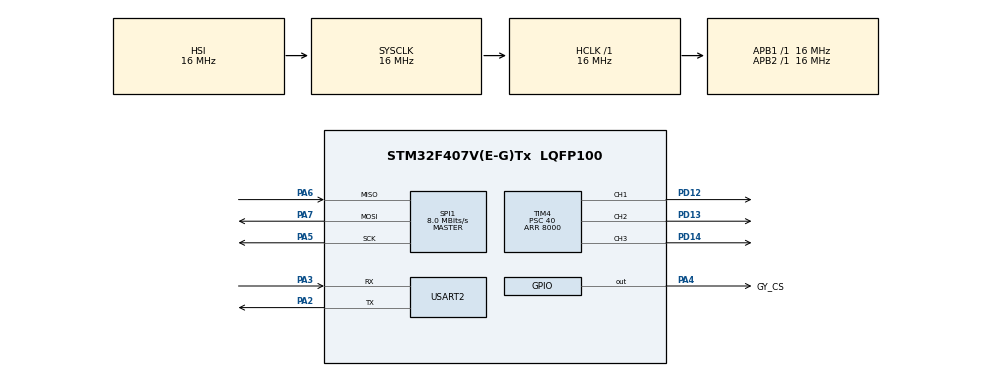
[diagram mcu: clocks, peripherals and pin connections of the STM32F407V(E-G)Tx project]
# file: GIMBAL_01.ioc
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FREERTOS.Queues01=ColaX,16,uint32_t,0,Dynamic,NULL,NULL;ColaY,16,uint32_t,0,Dynamic,NULL,NULL;ColaZ,16,uint32_t,0,Dynamic,NULL,NULL
FREERTOS.Tasks01=Captura,0,128,StartCaptura,Default,NULL,Dynamic,NULL,NULL;Hombro,-3,128,StartHombro,Default,NULL,Dynamic,NULL,NULL;Codo,-3,128,StartCodo,Default,NULL,Dynamic,NULL,NULL;Muneca,-3,128,StartMuneca,Default,NULL,Dynamic,NULL,NULL
Mcu.Family=STM32F4
Mcu.Name=STM32F407V(E-G)Tx
Mcu.Package=LQFP100
NVIC.PriorityGroup=NVIC_PRIORITYGROUP_4
PA2.Mode=Asynchronous
PA2.Signal=USART2_TX
PA3.Mode=Asynchronous
PA3.Signal=USART2_RX
PA4.GPIO_Label=GY_CS
PA4.Signal=GPIO_Output
PA5.Mode=Full_Duplex_Master
PA5.Signal=SPI1_SCK
PA6.Mode=Full_Duplex_Master
PA6.Signal=SPI1_MISO
PA7.Mode=Full_Duplex_Master
PA7.Signal=SPI1_MOSI
PD12.Signal=S_TIM4_CH1
PD13.Signal=S_TIM4_CH2
PD14.Signal=S_TIM4_CH3
ProjectManager.HeapSize=0x200
ProjectManager.StackSize=0x400
ProjectManager.TargetToolchain=MDK-ARM V5.27
RCC.AHBFreq_Value=16000000
RCC.APB1Freq_Value=16000000
RCC.APB2Freq_Value=16000000
RCC.CortexFreq_Value=16000000
RCC.HSE_VALUE=25000000
RCC.HSI_VALUE=16000000
RCC.LSE_VALUE=32768
RCC.SYSCLKFreq_VALUE=16000000
RCC.VCOOutputFreq_Value=192000000
SH.S_TIM4_CH1.0=TIM4_CH1,PWM Generation1 CH1
SH.S_TIM4_CH2.0=TIM4_CH2,PWM Generation2 CH2
SH.S_TIM4_CH3.0=TIM4_CH3,PWM Generation3 CH3
SPI1.CalculateBaudRate=8.0 MBits/s
SPI1.Direction=SPI_DIRECTION_2LINES
SPI1.Mode=SPI_MODE_MASTER
SPI1.VirtualType=VM_MASTER
TIM4.Channel-PWM\ Generation1\ CH1=TIM_CHANNEL_1
TIM4.Channel-PWM\ Generation2\ CH2=TIM_CHANNEL_2
TIM4.Channel-PWM\ Generation3\ CH3=TIM_CHANNEL_3
TIM4.Period=8000
TIM4.Prescaler=40
TIM4.Pulse-PWM\ Generation1\ CH1=600
TIM4.Pulse-PWM\ Generation2\ CH2=600
TIM4.Pulse-PWM\ Generation3\ CH3=600
USART2.VirtualMode=VM_ASYNC
VP_FREERTOS_VS_CMSIS_V1.Mode=CMSIS_V1
VP_TIM4_VS_ClockSourceINT.Mode=Internal
board=custom

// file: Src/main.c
/* USER CODE BEGIN Header */
/**
  ******************************************************************************
  * @file           : main.c
  * @brief          : Main program body
  ******************************************************************************
  * @attention
  *
  * <h2><center>&copy; Copyright (c) 2020 STMicroelectronics.
  * All rights reserved.</center></h2>
  *
  * This software component is licensed by ST under Ultimate Liberty license
  * SLA0044, the "License"; You may not use this file except in compliance with
  * the License. You may obtain a copy of the License at:
  *                             www.st.com/SLA0044
  *
  ******************************************************************************
  */
/* USER CODE END Header */

#include "main.h"
#include "cmsis_os.h"

/* USER CODE BEGIN Includes */
#include "MPU9250.h"
#include <stdio.h>
/* USER CODE END Includes */

SPI_HandleTypeDef hspi1;

TIM_HandleTypeDef htim4;

UART_HandleTypeDef huart2;

osThreadId CapturaHandle;
osThreadId HombroHandle;
osThreadId CodoHandle;
osThreadId MunecaHandle;
osMessageQId ColaXHandle;
osMessageQId ColaYHandle;
osMessageQId ColaZHandle;

void SystemClock_Config(void);
static void MX_GPIO_Init(void);
static void MX_SPI1_Init(void);
static void MX_USART2_UART_Init(void);
static void MX_TIM4_Init(void);
void StartCaptura(void const * argument);
void StartHombro(void const * argument);
void StartCodo(void const * argument);
void StartMuneca(void const * argument);

/* USER CODE BEGIN 0 */

/******************************************************************************** VARS ***/
// Declaradas globales por captura de firstYAW
int16_t AccData[3], GyroData[3], MagData[3], firstYAW;
// Retardo de las tareas
int Gresponse = 10;
// Prescaler = 40
// Se queda ARR = 8000
// Centro de los Motores, Rango de 320-880 cuentas (0.8-2.2ms)
int centro=600;
// Límite de posición estable;
int limitStable = 400;

// Factor de resolución para el ángulo
//int incResolution=400;

/******************************************************************************** PRINTF ***/
//Retargets the C library printf function to the USART.
 #define PUTCHAR_PROTOTYPE int fputc(int ch, FILE *f)
 PUTCHAR_PROTOTYPE
{
  /* write a character to the uart1 and Loop until the end of transmission */
  HAL_UART_Transmit(&huart2, (uint8_t *)&ch, 1, 0xFFFF);
  return ch;
}

/******************************************************************************** SETPWM ***/
void setPWM(TIM_HandleTypeDef timer, uint32_t channel, uint16_t period, uint16_t pulse);

/* USER CODE END 0 */

int main(void)
{

  /* MCU Configuration--------------------------------------------------------*/

  /* Reset of all peripherals, Initializes the Flash interface and the Systick. */
  HAL_Init();

  /* Configure the system clock */
  SystemClock_Config();

  /* Initialize all configured peripherals */
  MX_GPIO_Init();
  MX_SPI1_Init();
  MX_USART2_UART_Init();
  MX_TIM4_Init();
  /* USER CODE BEGIN 2 */

	printf("==========================================================  \n\r");
  printf("     Master en Electrónica y Telecomunicacion Aplicadas     \n\r");
  printf("          Sistemas Empotrados de Tiempo Real                \n\r");
  printf("                                                            \n\r");
  printf("                 PROYECTO GIMBAL                            \n\r");
  printf("                                              Roy Tarapuez  \n\r");
  printf("==========================================================\n\n\r");

	MPU9250_Init();

	// Capturamos el primer ángulo de giro de la base.
	MPU9250_GetData(AccData, GyroData, MagData);
	firstYAW = GyroData[0];

	/********************************************************************* INICIA ARTICULACIONES */

	// Inicializamos los motores a su centro
		setPWM(htim4, TIM_CHANNEL_1, 8000, centro);
  // El motor del codo tiene un offset
	setPWM(htim4, TIM_CHANNEL_2, 8000, centro);
  	setPWM(htim4, TIM_CHANNEL_3, 8000, centro);

  /* USER CODE END 2 */

  /* Create the queue(s) */
  /* definition and creation of ColaX */
  osMessageQDef(ColaX, 16, uint32_t);
  ColaXHandle = osMessageCreate(osMessageQ(ColaX), NULL);

  /* definition and creation of ColaY */
  osMessageQDef(ColaY, 16, uint32_t);
  ColaYHandle = osMessageCreate(osMessageQ(ColaY), NULL);

  /* definition and creation of ColaZ */
  osMessageQDef(ColaZ, 16, uint32_t);
  ColaZHandle = osMessageCreate(osMessageQ(ColaZ), NULL);

  /* Create the thread(s) */
  /* definition and creation of Captura */
  osThreadDef(Captura, StartCaptura, osPriorityNormal, 0, 128);
  CapturaHandle = osThreadCreate(osThread(Captura), NULL);

  /* definition and creation of Hombro */
  osThreadDef(Hombro, StartHombro, osPriorityIdle, 0, 128);
  HombroHandle = osThreadCreate(osThread(Hombro), NULL);

  /* definition and creation of Codo */
  osThreadDef(Codo, StartCodo, osPriorityIdle, 0, 128);
  CodoHandle = osThreadCreate(osThread(Codo), NULL);

  /* definition and creation of Muneca */
  osThreadDef(Muneca, StartMuneca, osPriorityIdle, 0, 128);
  MunecaHandle = osThreadCreate(osThread(Muneca), NULL);

  /* Start scheduler */
  osKernelStart();

  /* We should never get here as control is now taken by the scheduler */
  /* Infinite loop */
  while (1)
  {

  }
}

void SystemClock_Config(void)
{
  RCC_OscInitTypeDef RCC_OscInitStruct = {0};
  RCC_ClkInitTypeDef RCC_ClkInitStruct = {0};

  /** Configure the main internal regulator output voltage
  */
  __HAL_RCC_PWR_CLK_ENABLE();
  __HAL_PWR_VOLTAGESCALING_CONFIG(PWR_REGULATOR_VOLTAGE_SCALE1);
  /** Initializes the CPU, AHB and APB busses clocks
  */
  RCC_OscInitStruct.OscillatorType = RCC_OSCILLATORTYPE_HSI;
  RCC_OscInitStruct.HSIState = RCC_HSI_ON;
  RCC_OscInitStruct.HSICalibrationValue = RCC_HSICALIBRATION_DEFAULT;
  RCC_OscInitStruct.PLL.PLLState = RCC_PLL_NONE;
  if (HAL_RCC_OscConfig(&RCC_OscInitStruct) != HAL_OK)
  {
    Error_Handler();
  }
  /** Initializes the CPU, AHB and APB busses clocks
  */
  RCC_ClkInitStruct.ClockType = RCC_CLOCKTYPE_HCLK|RCC_CLOCKTYPE_SYSCLK
                              |RCC_CLOCKTYPE_PCLK1|RCC_CLOCKTYPE_PCLK2;
  RCC_ClkInitStruct.SYSCLKSource = RCC_SYSCLKSOURCE_HSI;
  RCC_ClkInitStruct.AHBCLKDivider = RCC_SYSCLK_DIV1;
  RCC_ClkInitStruct.APB1CLKDivider = RCC_HCLK_DIV1;
  RCC_ClkInitStruct.APB2CLKDivider = RCC_HCLK_DIV1;

  if (HAL_RCC_ClockConfig(&RCC_ClkInitStruct, FLASH_LATENCY_0) != HAL_OK)
  {
    Error_Handler();
  }
}

static void MX_SPI1_Init(void)
{

  /* SPI1 parameter configuration*/
  hspi1.Instance = SPI1;
  hspi1.Init.Mode = SPI_MODE_MASTER;
  hspi1.Init.Direction = SPI_DIRECTION_2LINES;
  hspi1.Init.DataSize = SPI_DATASIZE_8BIT;
  hspi1.Init.CLKPolarity = SPI_POLARITY_LOW;
  hspi1.Init.CLKPhase = SPI_PHASE_1EDGE;
  hspi1.Init.NSS = SPI_NSS_SOFT;
  hspi1.Init.BaudRatePrescaler = SPI_BAUDRATEPRESCALER_2;
  hspi1.Init.FirstBit = SPI_FIRSTBIT_MSB;
  hspi1.Init.TIMode = SPI_TIMODE_DISABLE;
  hspi1.Init.CRCCalculation = SPI_CRCCALCULATION_DISABLE;
  hspi1.Init.CRCPolynomial = 10;
  if (HAL_SPI_Init(&hspi1) != HAL_OK)
  {
    Error_Handler();
  }

}

static void MX_TIM4_Init(void)
{

  TIM_ClockConfigTypeDef sClockSourceConfig = {0};
  TIM_MasterConfigTypeDef sMasterConfig = {0};
  TIM_OC_InitTypeDef sConfigOC = {0};

  htim4.Instance = TIM4;
  htim4.Init.Prescaler = 40;
  htim4.Init.CounterMode = TIM_COUNTERMODE_UP;
  htim4.Init.Period = 8000;
  htim4.Init.ClockDivision = TIM_CLOCKDIVISION_DIV1;
  htim4.Init.AutoReloadPreload = TIM_AUTORELOAD_PRELOAD_DISABLE;
  if (HAL_TIM_Base_Init(&htim4) != HAL_OK)
  {
    Error_Handler();
  }
  sClockSourceConfig.ClockSource = TIM_CLOCKSOURCE_INTERNAL;
  if (HAL_TIM_ConfigClockSource(&htim4, &sClockSourceConfig) != HAL_OK)
  {
    Error_Handler();
  }
  if (HAL_TIM_PWM_Init(&htim4) != HAL_OK)
  {
    Error_Handler();
  }
  sMasterConfig.MasterOutputTrigger = TIM_TRGO_RESET;
  sMasterConfig.MasterSlaveMode = TIM_MASTERSLAVEMODE_DISABLE;
  if (HAL_TIMEx_MasterConfigSynchronization(&htim4, &sMasterConfig) != HAL_OK)
  {
    Error_Handler();
  }
  sConfigOC.OCMode = TIM_OCMODE_PWM1;
  sConfigOC.Pulse = 600;
  sConfigOC.OCPolarity = TIM_OCPOLARITY_HIGH;
  sConfigOC.OCFastMode = TIM_OCFAST_DISABLE;
  if (HAL_TIM_PWM_ConfigChannel(&htim4, &sConfigOC, TIM_CHANNEL_1) != HAL_OK)
  {
    Error_Handler();
  }
  if (HAL_TIM_PWM_ConfigChannel(&htim4, &sConfigOC, TIM_CHANNEL_2) != HAL_OK)
  {
    Error_Handler();
  }
  if (HAL_TIM_PWM_ConfigChannel(&htim4, &sConfigOC, TIM_CHANNEL_3) != HAL_OK)
  {
    Error_Handler();
  }
  HAL_TIM_MspPostInit(&htim4);

}

static void MX_USART2_UART_Init(void)
{

  huart2.Instance = USART2;
  huart2.Init.BaudRate = 115200;
  huart2.Init.WordLength = UART_WORDLENGTH_8B;
  huart2.Init.StopBits = UART_STOPBITS_1;
  huart2.Init.Parity = UART_PARITY_NONE;
  huart2.Init.Mode = UART_MODE_TX_RX;
  huart2.Init.HwFlowCtl = UART_HWCONTROL_NONE;
  huart2.Init.OverSampling = UART_OVERSAMPLING_16;
  if (HAL_UART_Init(&huart2) != HAL_OK)
  {
    Error_Handler();
  }

}

static void MX_GPIO_Init(void)
{
  GPIO_InitTypeDef GPIO_InitStruct = {0};

  /* GPIO Ports Clock Enable */
  __HAL_RCC_GPIOA_CLK_ENABLE();
  __HAL_RCC_GPIOD_CLK_ENABLE();

  /*Configure GPIO pin Output Level */
  HAL_GPIO_WritePin(GY_CS_GPIO_Port, GY_CS_Pin, GPIO_PIN_RESET);

  /*Configure GPIO pin : GY_CS_Pin */
  GPIO_InitStruct.Pin = GY_CS_Pin;
  GPIO_InitStruct.Mode = GPIO_MODE_OUTPUT_PP;
  GPIO_InitStruct.Pull = GPIO_NOPULL;
  GPIO_InitStruct.Speed = GPIO_SPEED_FREQ_LOW;
  HAL_GPIO_Init(GY_CS_GPIO_Port, &GPIO_InitStruct);

}

/* USER CODE BEGIN 4 */

/*******************************************************************************************/
/******************************************************************************** SETPWM ***/
void setPWM(TIM_HandleTypeDef timer, uint32_t channel, uint16_t period, uint16_t pulse)
{
  HAL_TIM_PWM_Stop(&timer, channel); // stop generation of pwm
  TIM_OC_InitTypeDef sConfigOC;

  timer.Init.Period = period; // set the period duration
  HAL_TIM_PWM_Init(&timer); // reinititialise with new period value
  sConfigOC.OCMode = TIM_OCMODE_PWM1;
  sConfigOC.Pulse = pulse; // set the pulse duration
  sConfigOC.OCPolarity = TIM_OCPOLARITY_HIGH;
  sConfigOC.OCFastMode = TIM_OCFAST_DISABLE;
  HAL_TIM_PWM_ConfigChannel(&timer, &sConfigOC, channel);
  HAL_TIM_PWM_Start(&timer, channel); // start pwm generation
}
/* USER CODE END 4 */

/* USER CODE BEGIN Header_StartCaptura */
/*******************************************************************************************/
/******************************************************************************* CAPTURA ***/

/**
  * @brief  Function implementing the Captura thread.
  * @param  argument: Not used
  * @retval None
  */
/* USER CODE END Header_StartCaptura */

void StartCaptura(void const * argument)
{
  /* USER CODE BEGIN 5 */
	osStatus estado;

  /* Infinite loop */
  for(;;)
  {

		// Los valores que da el acelerómetro son proporcionales al
		// Seno de ángulo que forma el vector gravedad con cada eje
		// AccData = 16384 * seno(theta) , Theta = ángulo formado con cada eje.
		// 16384 = obtenido en Datasheet y contrastado con STMStudio.
		MPU9250_GetData(AccData, GyroData, MagData);

		// Enviamos componente en X a su cola
		estado=osMessagePut(ColaXHandle,AccData[0],200);
    if (estado==osOK){
        printf("TX %5d ",(int16_t)AccData[0]);
    }
    else { printf(" * Cola llena\n\r"); }

		// Enviamos componente en Y a su cola
		estado=osMessagePut(ColaYHandle,AccData[1],200);
    if (estado==osOK){
        printf(" TY %5d ",(int16_t)AccData[1]);
    }
    else { printf(" * Cola llena\n\r"); }

		// Enviamos componente en Z del Gyro a su cola
		estado=osMessagePut(ColaZHandle,GyroData[0],200);
    if (estado==osOK){
        printf(" TZ %5d \n\r",(int16_t)GyroData[0]);
    }
    else { printf(" * Cola llena\n\r"); }

    osDelay(Gresponse);
  }
  /* USER CODE END 5 */
}

/* USER CODE BEGIN Header_StartHombro */
/*******************************************************************************************/
/******************************************************************************** HOMBRO ***/
/**
* @brief Function implementing the Hombro thread.
* @param argument: Not used
* @retval None
*/
/* USER CODE END Header_StartHombro */

void StartHombro(void const * argument)
{
  /* USER CODE BEGIN StartHombro */
	osEvent  retvalue;
	int compZ, toIncrem=0;
  /* Infinite loop */
  for(;;)
  {

		retvalue=osMessageGet(ColaZHandle, osWaitForever);
		// Obtenemos la componente relativa en Z
		compZ=(int)retvalue.value.v - firstYAW;
		// Sensibilidad 250 con FS_SEL = 0 (datasheet)
		// version anterior (toIncrem = (int) (firstYAW - compZ)/10);
		// Se establece 25 como límite de estabilidad de los valores del Gyro
		// 25 es cte de Skinner, debería ser el rango / resolución para 1grado.
		if(compZ > 25)toIncrem = -1;
		if(compZ < -25) toIncrem = +1;
		if(compZ < 25 && compZ > -25) toIncrem = 0;
		// Incrementamos o reducimos el ciclo del PWM
		TIM4->CCR1 = TIM4->CCR1 + toIncrem;
		printf("Hombro:%d \n\r",toIncrem);

    osDelay(Gresponse);
  }
  /* USER CODE END StartHombro */
}

/* USER CODE BEGIN Header_StartCodo */
/*******************************************************************************************/
/********************************************************************************** CODO ***/

/**
* @brief Function implementing the Codo thread.
* @param argument: Not used
* @retval None
*/
/* USER CODE END Header_StartCodo */
void StartCodo(void const * argument)
{
  /* USER CODE BEGIN StartCodo */
	osEvent  retvalue;
  int compY, toIncrem;
	/* Infinite loop */
  for(;;)
  {

		retvalue=osMessageGet(ColaYHandle, osWaitForever);
		// Obtenemos la componente en Y
		compY=(int)retvalue.value.v;
		// con 300 tenemos un error de +- 1,049175689 grados en la posición estable.
		// es decir arcsin(300/sensibilidad) = 1,049175689 grados.
		// en versión anterior (toIncrem = (int)compY/incResolution);
		if (compY > limitStable)toIncrem = 1;
		if(compY < -limitStable) toIncrem = -1;
		if(compY < limitStable && compY > -limitStable) toIncrem = 0;

		TIM4->CCR2 = TIM4->CCR2 - toIncrem;

		printf("Codo: %d \n\r",toIncrem);
    osDelay(Gresponse);
  }
  /* USER CODE END StartCodo */
}

/* USER CODE BEGIN Header_StartMuneca */
/*******************************************************************************************/
/******************************************************************************** MUNECA ***/
/**
* @brief Function implementing the Muneca thread.
* @param argument: Not used
* @retval None
*/
/* USER CODE END Header_StartMuneca */
void StartMuneca(void const * argument)
{
  /* USER CODE BEGIN StartMuneca */
	osEvent  retvalue;
	int compX, toIncrem;
  /* Infinite loop */
  for(;;)
  {

		retvalue=osMessageGet(ColaXHandle, osWaitForever);
		// Obtenemos la componente en X
		compX=(int)retvalue.value.v;
		// Versión anterior "con 300 tenemos un error de +- 1,049175689 grados en la posición estable."
		// es decir arcsin(300/sensibilidad) = 1,049175689 grados.
		// toIncrem = (int)compX/incResolution;
		// Conforme compX se acerque al limite de error los incrementos serán menores.

		// Se decidieron los incrementos en 1 ya que ARR no es demasiado grande y
		// los incrementos anteriores hacían oscilar los motores al reducir Gresponse.
		if (compX > limitStable)toIncrem = 1;
		if(compX < -limitStable) toIncrem = -1;
		if(compX < limitStable && compX > -limitStable) toIncrem = 0;

		TIM4->CCR3 = TIM4->CCR3 + toIncrem;

		printf("Muneca: %d \n\r",toIncrem);
    osDelay(Gresponse);
  }
  /* USER CODE END StartMuneca */
}

void Error_Handler(void)
{
}

/************************ (C) COPYRIGHT STMicroelectronics *****END OF FILE****/
